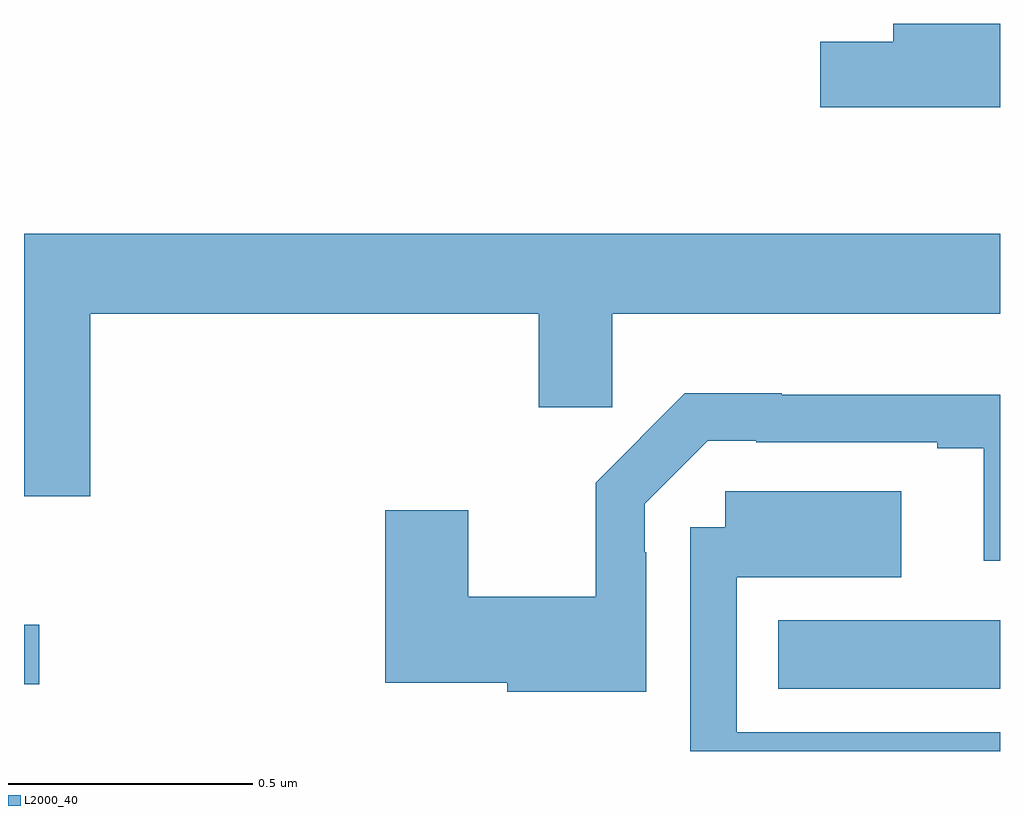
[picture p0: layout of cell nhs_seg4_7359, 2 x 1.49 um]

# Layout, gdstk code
import gdstk
lib = gdstk.Library(unit=1e-6, precision=1e-09)
def R(c, l, rs):  # rectangles x0, y0, x1, y1
    for r in rs: c.add(gdstk.rectangle(r[:2], r[2:], *l))
def P(c, l, *ps):  # polygons
    for p in ps: c.add(gdstk.Polygon(p, *l))
L2000_40 = (2000, 40)

nhs_seg4_7359 = lib.new_cell('nhs_seg4_7359')
R(nhs_seg4_7359, L2000_40, [(202.546,820.028,203,820.168), (201,820.037,201.031,820.159)])
P(nhs_seg4_7359, L2000_40, [(203,821.39),(202.781,821.39),(202.781,821.354),(202.632,821.354),(202.632,821.219),(203,821.219)],
  [(201.136,820.796),(202.055,820.796),(202.055,820.605),(202.205,820.605),(202.205,820.796),(203,820.796),(203,820.96),(201,820.96),(201,820.422),(201.136,820.422)],
  [(202.275,820.307),(202.272,820.307),(202.272,820.407),(202.401,820.536),(202.501,820.536),(202.501,820.533),(202.871,820.533),(202.871,820.521),(202.967,820.521),(202.967,820.29),(203,820.29),(203,820.63),(202.553,820.63),(202.553,820.633),(202.354,820.633),(202.172,820.45),(202.172,820.216),(201.91,820.216),(201.91,820.393),(201.74,820.393),(201.74,820.04),(201.99,820.04),(201.99,820.022),(202.275,820.022)],
  [(203,819.939),(202.461,819.939),(202.461,820.256),(202.798,820.256),(202.798,820.432),(202.437,820.432),(202.437,820.359),(202.365,820.359),(202.365,819.9),(203,819.9)])

lib.write_gds('nhs_seg4_7359.gds')
